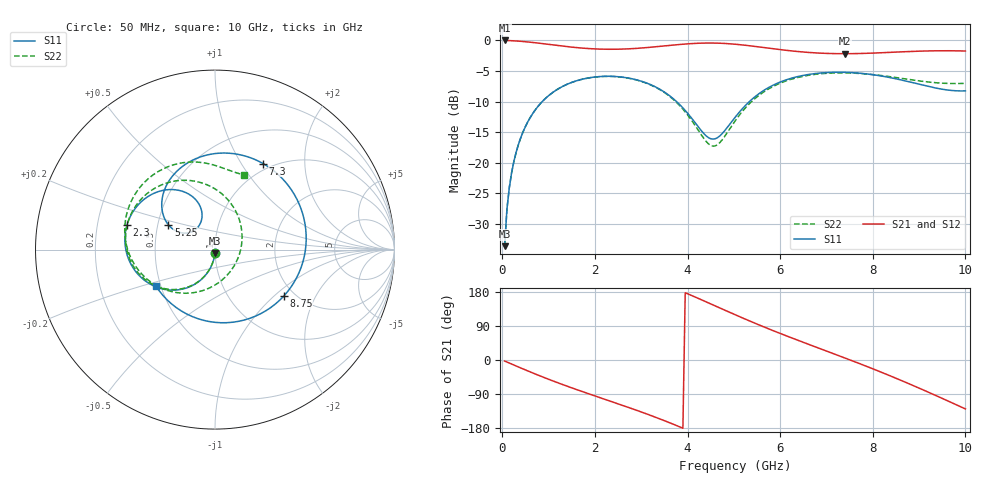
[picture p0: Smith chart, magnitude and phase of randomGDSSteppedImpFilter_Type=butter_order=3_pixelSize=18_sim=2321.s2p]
! freq	dB(S11)	phase(S11)	dB(S12)	phase(S12)
!  dB(S21)	phase(S21)	dB(S22)	phase(S22)
!S-par simulation data
#  GHz  S  DB  R 50
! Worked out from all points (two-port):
!   200 points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, 50 MHz to 10 GHz, reference 50 ohm
!   highest |S21| = 0.00 dB at 50 MHz (marker M1); lowest = -2.2 dB at 7.4 GHz (marker M2)
!   |S21| within 3 dB of the highest: start of sweep to end of sweep
!   lowest |S11| = -33.6 dB at 50 MHz (marker M3), VSWR 1.04, Z = 49.9 - j2.07 ohm
!   |S11| at or under -10 dB: start of sweep to 863.1 MHz; 3.763 GHz to 5.336 GHz (1.573 GHz wide, 34.6 % of centre)
!   |S22| runs from -33.6 to -5.3 dB; largest |S21 - S12| = 0
!   S11 on the Smith chart (normalised r, x): 50 MHz: 1.00, -0.04; 2.3 GHz: 0.33, +0.12; 5.25 GHz: 0.57, +0.17; 7.3 GHz: 0.91, +1.25; 8.75 GHz: 1.75, -1.16; 10 GHz: 0.47, -0.22
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0.05  -33.65 -92.7  -0.00 -2.7  -0.00 -2.7  -33.65 -92.7
0.1  -27.65 -95.5  -0.01 -5.4  -0.01 -5.4  -27.65 -95.6
0.2  -21.69 -101.0  -0.04 -10.7  -0.04 -10.7  -21.69 -101.1
0.5  -14.08 -116.6  -0.21 -26.3  -0.21 -26.3  -14.08 -117.0
1.1  -8.45 -145.6  -0.74 -55.6  -0.74 -55.6  -8.45 -146.7
1.75  -6.30 -173.6  -1.27 -84.3  -1.27 -84.3  -6.31 -176.0
2.3  -5.86 164.5  -1.45 -107.3  -1.45 -107.3  -5.87 160.0
2.9  -6.45 141.5  -1.30 -132.7  -1.30 -132.7  -6.47 132.6
3.4  -7.98 123.4  -0.97 -155.3  -0.97 -155.3  -8.04 106.2
4  -11.89 109.0  -0.56 174.9  -0.56 174.9  -12.16 62.8
4.5  -16.08 127.7  -0.42 148.1  -0.42 148.1  -17.17 -10.5
5.05  -12.36 154.5  -0.63 118.3  -0.63 118.3  -12.92 -102.1
5.25  -10.63 152.0  -0.79 107.7  -0.79 107.7  -11.03 -120.4
5.95  -6.96 127.1  -1.46 72.5  -1.46 72.5  -7.15 -164.2
6.7  -5.47 92.0  -2.01 37.4  -2.01 37.4  -5.60 162.0
7.3  -5.21 60.7  -2.17 9.9  -2.17 9.9  -5.30 139.3
7.4  -5.22 55.1  -2.17 5.3  -2.17 5.3  -5.30 135.8
7.9  -5.50 25.5  -2.10 -18.3  -2.10 -18.3  -5.51 119.1
8.35  -6.04 -4.4  -1.96 -40.5  -1.96 -40.5  -5.90 105.6
8.75  -6.70 -34.2  -1.83 -61.0  -1.83 -61.0  -6.34 95.0
9.4  -7.85 -90.1  -1.69 -95.8  -1.69 -95.8  -6.94 80.6
10  -8.25 -148.4  -1.73 -129.1  -1.73 -129.1  -7.02 68.5
